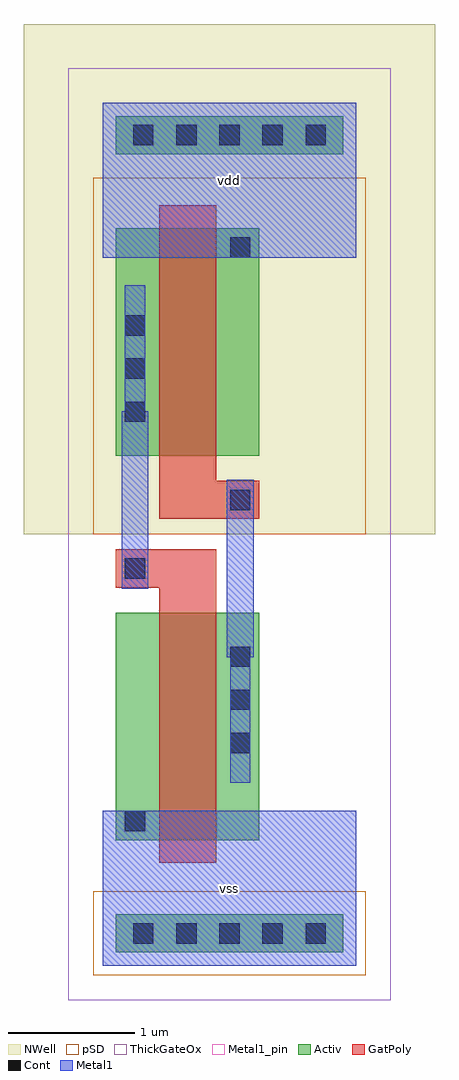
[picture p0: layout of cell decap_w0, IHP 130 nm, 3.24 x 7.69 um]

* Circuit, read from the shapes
.subckt decap_w0 vdd vss
XM1 n1 n2 vss vss sg13_hv_nmos w=1.79u l=0.45u
XM2 vdd n1 n2 vdd sg13_hv_pmos w=1.79u l=0.45u
.ends

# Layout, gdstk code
import gdstk
lib = gdstk.Library(unit=1e-6, precision=1e-09)
def R(c, l, rs):  # rectangles x0, y0, x1, y1
    for r in rs: c.add(gdstk.rectangle(r[:2], r[2:], *l))
def A(c, l, x, y, w, h, nx, ny, dx, dy):  # array of equal rectangles
    R(c, l, [(x+i*dx, y+j*dy, x+i*dx+w, y+j*dy+h) for i in range(nx) for j in range(ny)])
def P(c, l, *ps):  # polygons
    for p in ps: c.add(gdstk.Polygon(p, *l))
Activ = (1, 0)
GatPoly = (5, 0)
Cont = (6, 0)
Metal1 = (8, 0)
Metal1_pin = (8, 2)
pSD = (14, 0)
NWell = (31, 0)
ThickGateOx = (44, 0)

decap_w0 = lib.new_cell('decap_w0')
R(decap_w0, Activ, [(0.105,0.105,1.895,0.405), (0.105,0.99,1.235,2.78), (0.105,4.02,1.235,5.81), (0.105,6.395,1.895,6.695)])
P(decap_w0, GatPoly, [(0.445,0.81),(0.445,2.98),(0.105,2.98),(0.105,3.28),(0.895,3.28),(0.895,0.81)],
  [(0.445,3.52),(0.445,5.99),(0.895,5.99),(0.895,3.82),(1.235,3.82),(1.235,3.52)])
A(decap_w0, Cont, 0.24, 0.175, 0.16, 0.16, 5, 2, 0.34, 6.29)
A(decap_w0, Cont, 1.005, 1.675, 0.16, 0.16, 1, 3, 0, 0.34)
A(decap_w0, Cont, 0.175, 4.285, 0.16, 0.16, 1, 3, 0, 0.34)
R(decap_w0, Cont, [(0.175,1.06,0.335,1.22), (0.175,3.05,0.335,3.21), (1.005,3.59,1.165,3.75), (1.005,5.58,1.165,5.74)])
R(decap_w0, Metal1, [(0,0,2,1.22), (0,5.58,2,6.8)])
P(decap_w0, Metal1, [(0.15,2.97),(0.15,4.37),(0.175,4.37),(0.175,5.36),(0.335,5.36),(0.335,4.37),(0.36,4.37),(0.36,2.97)],
  [(1.005,1.44),(1.005,2.43),(0.98,2.43),(0.98,3.83),(1.19,3.83),(1.19,2.43),(1.165,2.43),(1.165,1.44)])
R(decap_w0, Metal1_pin, [(0,0,2,1.22), (0,5.58,2,6.8)])
R(decap_w0, pSD, [(-0.075,-0.075,2.075,0.585), (-0.075,3.4,2.075,6.21)])
R(decap_w0, NWell, [(-0.62,3.4,2.62,7.42)])
R(decap_w0, ThickGateOx, [(-0.27,-0.27,2.27,7.07)])
decap_w0.add(gdstk.Label('vss', (1,0.61), layer=8, texttype=2))
decap_w0.add(gdstk.Label('vdd', (1,6.19), layer=8, texttype=2))

lib.write_gds('decap_w0.gds')
